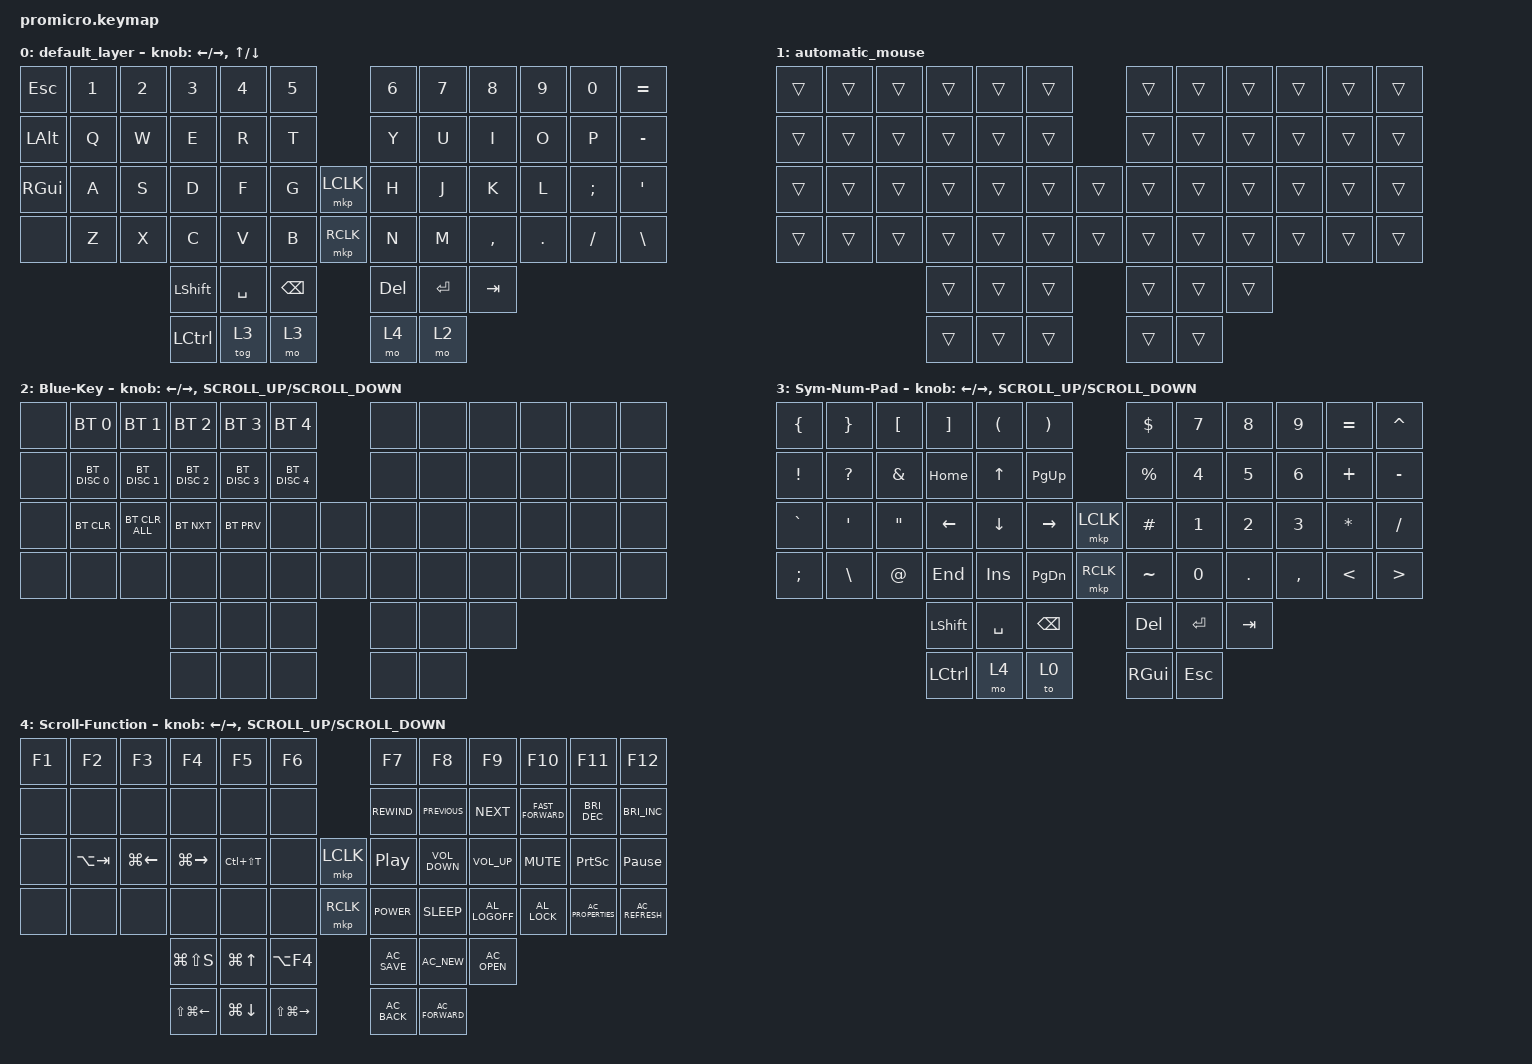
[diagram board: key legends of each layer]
/*
 * Copyright (c) 2020 The ZMK Contributors
 *
 * SPDX-License-Identifier: MIT
 */

#include <behaviors/mouse_keys.dtsi>
#include <dt-bindings/zmk/mouse.h>
#include <behaviors.dtsi>
#include <dt-bindings/zmk/bt.h>
#include <dt-bindings/zmk/keys.h>

/ {
    keymap {
        compatible = "zmk,keymap";

        default_layer {
            bindings = <
&kp ESC       &kp N1  &kp N2  &kp N3     &kp N4     &kp N5                          &kp N6   &kp N7   &kp N8     &kp N9   &kp N0    &kp EQUAL
&kp LEFT_ALT  &kp Q   &kp W   &kp E      &kp R      &kp T                           &kp Y    &kp U    &kp I      &kp O    &kp P     &kp MINUS
&kp RGUI      &kp A   &kp S   &kp D      &kp F      &kp G                &mkp LCLK  &kp H    &kp J    &kp K      &kp L    &kp SEMI  &kp SQT
&none         &kp Z   &kp X   &kp C      &kp V      &kp B     &mkp RCLK             &kp N    &kp M    &kp COMMA  &kp DOT  &kp FSLH  &kp BSLH
                              &kp LSHFT  &kp SPACE  &kp BSPC                        &kp DEL  &kp RET  &kp TAB
                              &kp LCTRL  &tog 3     &mo 3                           &mo 4    &mo 2
            >;

            sensor-bindings =
                <&inc_dec_kp LEFT_ARROW RIGHT_ARROW>,
                <&inc_dec_kp UP_ARROW DOWN_ARROW>;
        };

        // Lower priority than every manual layer; all existing key functions fall through.
        automatic_mouse {
            bindings = <
&trans &trans &trans &trans &trans &trans    &trans &trans &trans &trans &trans &trans
&trans &trans &trans &trans &trans &trans    &trans &trans &trans &trans &trans &trans
&trans &trans &trans &trans &trans &trans &trans &trans &trans &trans &trans &trans &trans
&trans &trans &trans &trans &trans &trans &trans &trans &trans &trans &trans &trans &trans
                            &trans &trans &trans    &trans &trans &trans
                            &trans &trans &trans    &trans &trans
            >;
        };

        Blue-Key {
            bindings = <
&none  &bt BT_SEL 0   &bt BT_SEL 1    &bt BT_SEL 2   &bt BT_SEL 3   &bt BT_SEL 4                 &none  &none  &none  &none  &none  &none
&none  &bt BT_DISC 0  &bt BT_DISC 1   &bt BT_DISC 2  &bt BT_DISC 3  &bt BT_DISC 4                &none  &none  &none  &none  &none  &none
&none  &bt BT_CLR     &bt BT_CLR_ALL  &bt BT_NXT     &bt BT_PRV     &none                 &none  &none  &none  &none  &none  &none  &none
&none  &none          &none           &none          &none          &none          &none         &none  &none  &none  &none  &none  &none
                                      &none          &none          &none                        &none  &none  &none
                                      &none          &none          &none                        &none  &none
            >;

            sensor-bindings =
                <&inc_dec_kp LEFT_ARROW RIGHT_ARROW>,
                <&inc_dec_kp K_SCROLL_UP K_SCROLL_DOWN>;
        };

        Sym-Num-Pad {
            bindings = <
&kp LEFT_BRACE   &kp RIGHT_BRACE   &kp LEFT_BRACKET   &kp RIGHT_BRACKET  &kp LEFT_PARENTHESIS  &kp RIGHT_PARENTHESIS                        &kp DOLLAR   &kp N7      &kp N8   &kp N9     &kp EQUAL      &kp CARET
&kp EXCLAMATION  &kp QUESTION      &kp AMPERSAND      &kp HOME           &kp UP_ARROW          &kp PAGE_UP                                  &kp PERCENT  &kp N4      &kp N5   &kp N6     &kp PLUS       &kp MINUS
&kp GRAVE        &kp SINGLE_QUOTE  &kp DOUBLE_QUOTES  &kp LEFT_ARROW     &kp DOWN_ARROW        &kp RIGHT_ARROW                   &mkp LCLK  &kp HASH     &kp N1      &kp N2   &kp N3     &kp STAR       &kp FSLH
&kp SEMICOLON    &kp BACKSLASH     &kp AT             &kp END            &kp INSERT            &kp PAGE_DOWN          &mkp RCLK             &kp TILDE    &kp N0      &kp DOT  &kp COMMA  &kp LESS_THAN  &kp GREATER_THAN
                                                      &kp LSHFT          &kp SPACE             &kp BSPC                                     &kp DEL      &kp RET     &kp TAB
                                                      &kp LEFT_CONTROL   &mo 4                 &to 0                                        &kp RGUI     &kp ESCAPE
            >;

            sensor-bindings =
                <&inc_dec_kp LEFT RIGHT>,
                <&inc_dec_kp K_SCROLL_UP K_SCROLL_DOWN>;
        };

        Scroll-Function {
            bindings = <
&kp F1  &kp F2       &kp F3              &kp F4                  &kp F5            &kp F6                                   &kp F7            &kp F8             &kp F9           &kp F10             &kp F11               &kp F12
&none   &none        &none               &none                   &none             &none                                    &kp C_REWIND      &kp C_PREVIOUS     &kp C_NEXT       &kp C_FAST_FORWARD  &kp C_BRIGHTNESS_DEC  &kp C_BRIGHTNESS_INC
&none   &kp LA(TAB)  &kp LG(LEFT_ARROW)  &kp LG(RIGHT)           &kp LC(LS(T))     &none                         &mkp LCLK  &kp C_PLAY_PAUSE  &kp C_VOLUME_DOWN  &kp C_VOLUME_UP  &kp C_MUTE          &kp PRINTSCREEN       &kp PAUSE_BREAK
&none   &none        &none               &none                   &none             &none              &mkp RCLK             &kp C_POWER       &kp C_SLEEP        &kp C_AL_LOGOFF  &kp C_AL_LOCK       &kp C_AC_PROPERTIES   &kp C_AC_REFRESH
                                         &kp LG(LS(S))           &kp LG(UP_ARROW)  &kp LA(F4)                               &kp C_AC_SAVE     &kp C_AC_NEW       &kp C_AC_OPEN
                                         &kp LS(LG(LEFT_ARROW))  &kp LG(DOWN)      &kp LS(LG(RIGHT))                        &kp C_AC_BACK     &kp C_AC_FORWARD
            >;

            sensor-bindings =
                <&inc_dec_kp LEFT_ARROW RIGHT_ARROW>,
                <&inc_dec_kp K_SCROLL_UP K_SCROLL_DOWN>;
        };
    };

    conditional_layers { compatible = "zmk,conditional-layers"; };
};
